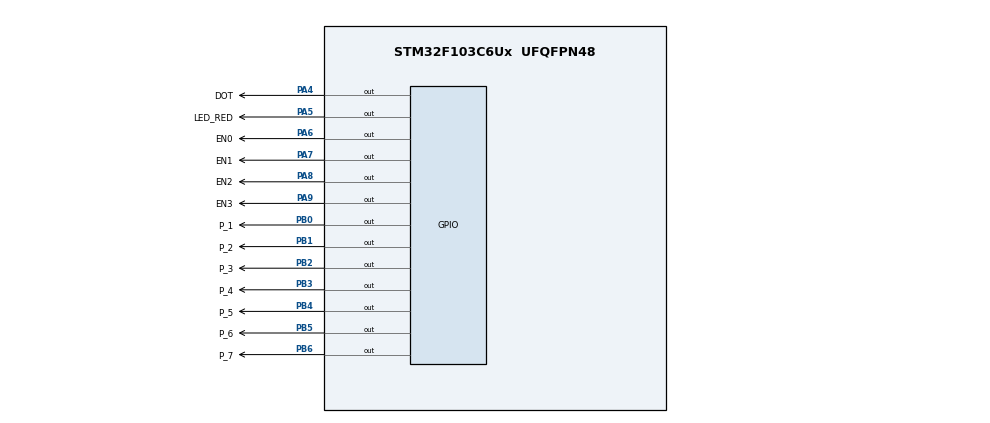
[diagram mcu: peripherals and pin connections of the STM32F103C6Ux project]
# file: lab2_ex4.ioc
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Mcu.Family=STM32F1
Mcu.Name=STM32F103C6Ux
Mcu.Package=UFQFPN48
NVIC.PriorityGroup=NVIC_PRIORITYGROUP_4
NVIC.TIM2_IRQn=true\:0\:0\:false\:false\:true\:true\:true\:true
PA4.GPIO_Label=DOT
PA4.Signal=GPIO_Output
PA5.GPIO_Label=LED_RED
PA5.Signal=GPIO_Output
PA6.GPIO_Label=EN0
PA6.Signal=GPIO_Output
PA7.GPIO_Label=EN1
PA7.Signal=GPIO_Output
PA8.GPIO_Label=EN2
PA8.Signal=GPIO_Output
PA9.GPIO_Label=EN3
PA9.Signal=GPIO_Output
PB0.GPIO_Label=P_1
PB0.Signal=GPIO_Output
PB1.GPIO_Label=P_2
PB1.Signal=GPIO_Output
PB2.GPIO_Label=P_3
PB2.Signal=GPIO_Output
PB3.GPIO_Label=P_4
PB3.Signal=GPIO_Output
PB4.GPIO_Label=P_5
PB4.Signal=GPIO_Output
PB5.GPIO_Label=P_6
PB5.Signal=GPIO_Output
PB6.GPIO_Label=P_7
PB6.Signal=GPIO_Output
ProjectManager.HeapSize=0x200
ProjectManager.StackSize=0x400
ProjectManager.TargetToolchain=STM32CubeIDE
RCC.APB1Freq_Value=8000000
RCC.APB2Freq_Value=8000000
TIM2.Period=9
TIM2.Prescaler=7999
VP_TIM2_VS_ClockSourceINT.Mode=Internal
board=custom

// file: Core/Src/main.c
/* USER CODE BEGIN Header */
/**
  ******************************************************************************
  * @file           : main.c
  * @brief          : Main program body
  ******************************************************************************
  * @attention
  *
  * Copyright (c) 2022 STMicroelectronics.
  * All rights reserved.
  *
  * This software is licensed under terms that can be found in the LICENSE file
  * in the root directory of this software component.
  * If no LICENSE file comes with this software, it is provided AS-IS.
  *
  ******************************************************************************
  */
/* USER CODE END Header */
#include "main.h"
#include "timer.h"

TIM_HandleTypeDef htim2;

void SystemClock_Config(void);
static void MX_GPIO_Init(void);
static void MX_TIM2_Init(void);

/* USER CODE BEGIN 0 */
void display7SEG(int timer)
{
	if(timer==0)
	{
		HAL_GPIO_WritePin(P_1_GPIO_Port, P_1_Pin, RESET);
		HAL_GPIO_WritePin(P_2_GPIO_Port, P_2_Pin, RESET);
		HAL_GPIO_WritePin(P_3_GPIO_Port, P_3_Pin, RESET);
		HAL_GPIO_WritePin(P_4_GPIO_Port, P_4_Pin, RESET);
		HAL_GPIO_WritePin(P_5_GPIO_Port, P_5_Pin, RESET);
		HAL_GPIO_WritePin(P_6_GPIO_Port, P_6_Pin, RESET);
		HAL_GPIO_WritePin(P_7_GPIO_Port, P_7_Pin, SET);
	}
	if(timer==1)
		{
			HAL_GPIO_WritePin(P_1_GPIO_Port, P_1_Pin, SET);
			HAL_GPIO_WritePin(P_2_GPIO_Port, P_2_Pin, RESET);
			HAL_GPIO_WritePin(P_3_GPIO_Port, P_3_Pin, RESET);
			HAL_GPIO_WritePin(P_4_GPIO_Port, P_4_Pin, SET);
			HAL_GPIO_WritePin(P_5_GPIO_Port, P_5_Pin, SET);
			HAL_GPIO_WritePin(P_6_GPIO_Port, P_6_Pin, SET);
			HAL_GPIO_WritePin(P_7_GPIO_Port, P_7_Pin, SET);
		}
	if(timer==2)
		{
			HAL_GPIO_WritePin(P_1_GPIO_Port, P_1_Pin, RESET);
			HAL_GPIO_WritePin(P_2_GPIO_Port, P_2_Pin, RESET);
			HAL_GPIO_WritePin(P_3_GPIO_Port, P_3_Pin, SET);
			HAL_GPIO_WritePin(P_4_GPIO_Port, P_4_Pin, RESET);
			HAL_GPIO_WritePin(P_5_GPIO_Port, P_5_Pin, RESET);
			HAL_GPIO_WritePin(P_6_GPIO_Port, P_6_Pin, SET);
			HAL_GPIO_WritePin(P_7_GPIO_Port, P_7_Pin, RESET);
		}
	if(timer==3)
		{
			HAL_GPIO_WritePin(P_1_GPIO_Port, P_1_Pin, RESET);
			HAL_GPIO_WritePin(P_2_GPIO_Port, P_2_Pin, RESET);
			HAL_GPIO_WritePin(P_3_GPIO_Port, P_3_Pin, RESET);
			HAL_GPIO_WritePin(P_4_GPIO_Port, P_4_Pin, RESET);
			HAL_GPIO_WritePin(P_5_GPIO_Port, P_5_Pin, SET);
			HAL_GPIO_WritePin(P_6_GPIO_Port, P_6_Pin, SET);
			HAL_GPIO_WritePin(P_7_GPIO_Port, P_7_Pin, RESET);
		}
	if(timer==4)
		{
			HAL_GPIO_WritePin(P_1_GPIO_Port, P_1_Pin, SET);
			HAL_GPIO_WritePin(P_2_GPIO_Port, P_2_Pin, RESET);
			HAL_GPIO_WritePin(P_3_GPIO_Port, P_3_Pin, RESET);
			HAL_GPIO_WritePin(P_4_GPIO_Port, P_4_Pin, SET);
			HAL_GPIO_WritePin(P_5_GPIO_Port, P_5_Pin, SET);
			HAL_GPIO_WritePin(P_6_GPIO_Port, P_6_Pin, RESET);
			HAL_GPIO_WritePin(P_7_GPIO_Port, P_7_Pin, RESET);
		}
	if(timer==5)
		{
			HAL_GPIO_WritePin(P_1_GPIO_Port, P_1_Pin, RESET);
			HAL_GPIO_WritePin(P_2_GPIO_Port, P_2_Pin, SET);
			HAL_GPIO_WritePin(P_3_GPIO_Port, P_3_Pin, RESET);
			HAL_GPIO_WritePin(P_4_GPIO_Port, P_4_Pin, RESET);
			HAL_GPIO_WritePin(P_5_GPIO_Port, P_5_Pin, SET);
			HAL_GPIO_WritePin(P_6_GPIO_Port, P_6_Pin, RESET);
			HAL_GPIO_WritePin(P_7_GPIO_Port, P_7_Pin, RESET);
		}
	if(timer==6)
		{
			HAL_GPIO_WritePin(P_1_GPIO_Port, P_1_Pin, RESET);
			HAL_GPIO_WritePin(P_2_GPIO_Port, P_2_Pin, SET);
			HAL_GPIO_WritePin(P_3_GPIO_Port, P_3_Pin, RESET);
			HAL_GPIO_WritePin(P_4_GPIO_Port, P_4_Pin, RESET);
			HAL_GPIO_WritePin(P_5_GPIO_Port, P_5_Pin, RESET);
			HAL_GPIO_WritePin(P_6_GPIO_Port, P_6_Pin, RESET);
			HAL_GPIO_WritePin(P_7_GPIO_Port, P_7_Pin, RESET);
		}
	if(timer==7)
		{
			HAL_GPIO_WritePin(P_1_GPIO_Port, P_1_Pin, RESET);
			HAL_GPIO_WritePin(P_2_GPIO_Port, P_2_Pin, RESET);
			HAL_GPIO_WritePin(P_3_GPIO_Port, P_3_Pin, RESET);
			HAL_GPIO_WritePin(P_4_GPIO_Port, P_4_Pin, SET);
			HAL_GPIO_WritePin(P_5_GPIO_Port, P_5_Pin, SET);
			HAL_GPIO_WritePin(P_6_GPIO_Port, P_6_Pin, SET);
			HAL_GPIO_WritePin(P_7_GPIO_Port, P_7_Pin, SET);
		}
	if(timer==8)
		{
			HAL_GPIO_WritePin(P_1_GPIO_Port, P_1_Pin, RESET);
			HAL_GPIO_WritePin(P_2_GPIO_Port, P_2_Pin, RESET);
			HAL_GPIO_WritePin(P_3_GPIO_Port, P_3_Pin, RESET);
			HAL_GPIO_WritePin(P_4_GPIO_Port, P_4_Pin, RESET);
			HAL_GPIO_WritePin(P_5_GPIO_Port, P_5_Pin, RESET);
			HAL_GPIO_WritePin(P_6_GPIO_Port, P_6_Pin, RESET);
			HAL_GPIO_WritePin(P_7_GPIO_Port, P_7_Pin, RESET);
		}
	if(timer==9)
		{
			HAL_GPIO_WritePin(P_1_GPIO_Port, P_1_Pin, RESET);
			HAL_GPIO_WritePin(P_2_GPIO_Port, P_2_Pin, RESET);
			HAL_GPIO_WritePin(P_3_GPIO_Port, P_3_Pin, RESET);
			HAL_GPIO_WritePin(P_4_GPIO_Port, P_4_Pin, RESET);
			HAL_GPIO_WritePin(P_5_GPIO_Port, P_5_Pin, SET);
			HAL_GPIO_WritePin(P_6_GPIO_Port, P_6_Pin, RESET);
			HAL_GPIO_WritePin(P_7_GPIO_Port, P_7_Pin, RESET);
		}
}

/* USER CODE END 0 */

int main(void)
{

  /* MCU Configuration--------------------------------------------------------*/

  /* Reset of all peripherals, Initializes the Flash interface and the Systick. */
  HAL_Init();

  /* Configure the system clock */
  SystemClock_Config();

  /* Initialize all configured peripherals */
  MX_GPIO_Init();
  MX_TIM2_Init();
  /* USER CODE BEGIN 2 */
  HAL_TIM_Base_Start_IT (& htim2 ) ;

  /* USER CODE END 2 */

  /* Infinite loop */
  /* USER CODE BEGIN WHILE */
  setTimer1(100);
  HAL_GPIO_WritePin(EN0_GPIO_Port, EN0_Pin, RESET);
  HAL_GPIO_WritePin(EN1_GPIO_Port, EN1_Pin, SET);
  HAL_GPIO_WritePin(EN2_GPIO_Port, EN2_Pin, SET);
  HAL_GPIO_WritePin(EN3_GPIO_Port, EN3_Pin, SET);
  HAL_GPIO_WritePin(DOT_GPIO_Port, DOT_Pin, RESET);
  while (1)
  {
	  if(timer1_flag==1)
	  	  {
	  		  setTimer1(100);
	  		  HAL_GPIO_TogglePin(LED_RED_GPIO_Port, LED_RED_Pin);
	  	  }
    /* USER CODE END WHILE */

  }
}

void SystemClock_Config(void)
{
  RCC_OscInitTypeDef RCC_OscInitStruct = {0};
  RCC_ClkInitTypeDef RCC_ClkInitStruct = {0};

  /** Initializes the RCC Oscillators according to the specified parameters
  * in the RCC_OscInitTypeDef structure.
  */
  RCC_OscInitStruct.OscillatorType = RCC_OSCILLATORTYPE_HSI;
  RCC_OscInitStruct.HSIState = RCC_HSI_ON;
  RCC_OscInitStruct.HSICalibrationValue = RCC_HSICALIBRATION_DEFAULT;
  RCC_OscInitStruct.PLL.PLLState = RCC_PLL_NONE;
  if (HAL_RCC_OscConfig(&RCC_OscInitStruct) != HAL_OK)
  {
    Error_Handler();
  }

  /** Initializes the CPU, AHB and APB buses clocks
  */
  RCC_ClkInitStruct.ClockType = RCC_CLOCKTYPE_HCLK|RCC_CLOCKTYPE_SYSCLK
                              |RCC_CLOCKTYPE_PCLK1|RCC_CLOCKTYPE_PCLK2;
  RCC_ClkInitStruct.SYSCLKSource = RCC_SYSCLKSOURCE_HSI;
  RCC_ClkInitStruct.AHBCLKDivider = RCC_SYSCLK_DIV1;
  RCC_ClkInitStruct.APB1CLKDivider = RCC_HCLK_DIV1;
  RCC_ClkInitStruct.APB2CLKDivider = RCC_HCLK_DIV1;

  if (HAL_RCC_ClockConfig(&RCC_ClkInitStruct, FLASH_LATENCY_0) != HAL_OK)
  {
    Error_Handler();
  }
}

static void MX_TIM2_Init(void)
{

  TIM_ClockConfigTypeDef sClockSourceConfig = {0};
  TIM_MasterConfigTypeDef sMasterConfig = {0};

  htim2.Instance = TIM2;
  htim2.Init.Prescaler = 7999;
  htim2.Init.CounterMode = TIM_COUNTERMODE_UP;
  htim2.Init.Period = 9;
  htim2.Init.ClockDivision = TIM_CLOCKDIVISION_DIV1;
  htim2.Init.AutoReloadPreload = TIM_AUTORELOAD_PRELOAD_DISABLE;
  if (HAL_TIM_Base_Init(&htim2) != HAL_OK)
  {
    Error_Handler();
  }
  sClockSourceConfig.ClockSource = TIM_CLOCKSOURCE_INTERNAL;
  if (HAL_TIM_ConfigClockSource(&htim2, &sClockSourceConfig) != HAL_OK)
  {
    Error_Handler();
  }
  sMasterConfig.MasterOutputTrigger = TIM_TRGO_RESET;
  sMasterConfig.MasterSlaveMode = TIM_MASTERSLAVEMODE_DISABLE;
  if (HAL_TIMEx_MasterConfigSynchronization(&htim2, &sMasterConfig) != HAL_OK)
  {
    Error_Handler();
  }

}

static void MX_GPIO_Init(void)
{
  GPIO_InitTypeDef GPIO_InitStruct = {0};

  /* GPIO Ports Clock Enable */
  __HAL_RCC_GPIOA_CLK_ENABLE();
  __HAL_RCC_GPIOB_CLK_ENABLE();

  /*Configure GPIO pin Output Level */
  HAL_GPIO_WritePin(GPIOA, DOT_Pin|LED_RED_Pin|EN0_Pin|EN1_Pin
                          |EN2_Pin|EN3_Pin, GPIO_PIN_RESET);

  /*Configure GPIO pin Output Level */
  HAL_GPIO_WritePin(GPIOB, P_1_Pin|P_2_Pin|P_3_Pin|P_4_Pin
                          |P_5_Pin|P_6_Pin|P_7_Pin, GPIO_PIN_RESET);

  /*Configure GPIO pins : DOT_Pin LED_RED_Pin EN0_Pin EN1_Pin
                           EN2_Pin EN3_Pin */
  GPIO_InitStruct.Pin = DOT_Pin|LED_RED_Pin|EN0_Pin|EN1_Pin
                          |EN2_Pin|EN3_Pin;
  GPIO_InitStruct.Mode = GPIO_MODE_OUTPUT_PP;
  GPIO_InitStruct.Pull = GPIO_NOPULL;
  GPIO_InitStruct.Speed = GPIO_SPEED_FREQ_LOW;
  HAL_GPIO_Init(GPIOA, &GPIO_InitStruct);

  /*Configure GPIO pins : P_1_Pin P_2_Pin P_3_Pin P_4_Pin
                           P_5_Pin P_6_Pin P_7_Pin */
  GPIO_InitStruct.Pin = P_1_Pin|P_2_Pin|P_3_Pin|P_4_Pin
                          |P_5_Pin|P_6_Pin|P_7_Pin;
  GPIO_InitStruct.Mode = GPIO_MODE_OUTPUT_PP;
  GPIO_InitStruct.Pull = GPIO_NOPULL;
  GPIO_InitStruct.Speed = GPIO_SPEED_FREQ_LOW;
  HAL_GPIO_Init(GPIOB, &GPIO_InitStruct);

}

/* USER CODE BEGIN 4 */
const int MAX_LED = 4;
int index_led = 0;
int led_buffer [4] = {1 , 2 , 3 , 4};
void update7SEG ( int index ) {
switch ( index )
	{
	case 0:
		HAL_GPIO_WritePin(EN0_GPIO_Port, EN0_Pin, 0);
		HAL_GPIO_WritePin(EN1_GPIO_Port, EN1_Pin, 1);
		HAL_GPIO_WritePin(EN2_GPIO_Port, EN2_Pin, 1);
		HAL_GPIO_WritePin(EN3_GPIO_Port, EN3_Pin, 1);
		display7SEG(led_buffer[index]);
		break ;
	case 1:
		HAL_GPIO_WritePin(EN0_GPIO_Port, EN0_Pin, 1);
		HAL_GPIO_WritePin(EN1_GPIO_Port, EN1_Pin, 0);
		HAL_GPIO_WritePin(EN2_GPIO_Port, EN2_Pin, 1);
		HAL_GPIO_WritePin(EN3_GPIO_Port, EN3_Pin, 1);
		display7SEG(led_buffer[index]);
		break ;
	case 2:
		HAL_GPIO_WritePin(EN0_GPIO_Port, EN0_Pin, 1);
		HAL_GPIO_WritePin(EN1_GPIO_Port, EN1_Pin, 1);
		HAL_GPIO_WritePin(EN2_GPIO_Port, EN2_Pin, 0);
		HAL_GPIO_WritePin(EN3_GPIO_Port, EN3_Pin, 1);
		display7SEG(led_buffer[index]);
		break ;
	case 3:
		HAL_GPIO_WritePin(EN0_GPIO_Port, EN0_Pin, 1);
		HAL_GPIO_WritePin(EN1_GPIO_Port, EN1_Pin, 1);
		HAL_GPIO_WritePin(EN2_GPIO_Port, EN2_Pin, 1);
		HAL_GPIO_WritePin(EN3_GPIO_Port, EN3_Pin, 0);
		display7SEG(led_buffer[index]);
		break ;
	default :
		break ;
	}
}
int counter = 1;//counter cho led
int counter_dot=50;//counter cho dot
//int dot_flag = 0;
int EN0 = 1;
int EN1 = 0;
int EN2 = 0;
int EN3 = 0;

void HAL_TIM_PeriodElapsedCallback ( TIM_HandleTypeDef * htim )
{
	if(counter>0)
	{
		counter--;
		if(counter<=0)
		{
			if(EN0==1)
			{
				EN0=0;
				EN1=1;
				EN2=0;
				EN3=0;
				update7SEG(index_led++);
			}
			else if(EN1==1)
			{
				EN0=0;
				EN1=0;
				EN2=1;
				EN3=0;
				update7SEG(index_led++);
			}
			else if(EN2==1)
			{
				EN0=0;
				EN1=0;
				EN2=0;
				EN3=1;
				update7SEG(index_led++);
			}
			else if(EN3==1)
			{
				EN0=1;
				EN1=0;
				EN2=0;
				EN3=0;
				update7SEG(index_led);
				index_led=0;
			}

			counter=25;
		}
	}
	if(counter_dot>0)
	{
		counter_dot--;
		if(counter_dot<=0)
		{
			HAL_GPIO_TogglePin(DOT_GPIO_Port, DOT_Pin);
			counter_dot=50;
		}
	}
		timerRun();
}
/* USER CODE END 4 */

void Error_Handler(void)
{
  __disable_irq();
  while (1)
  {
  }
}
